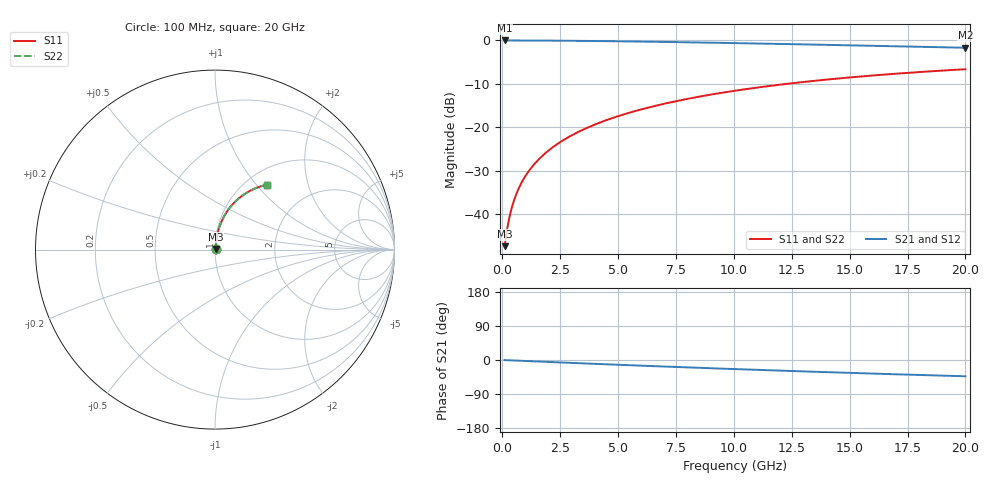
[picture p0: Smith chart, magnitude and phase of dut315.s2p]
! Touchstone file exported from HFSS 2024.1.0
!  File:  C:/UserFiles/LocalFiles/RDL_TSV_Batchsim/temp_RDL_top_315_1779606714.aedt
!  Generated:  03:14:21 PM May 24, 2026
!  Design:  RDL_top
!  Project:  temp_RDL_top_315_1779606714
!  Setup:  Setup1
!  Solution:  Sweep
! Variables:
!  dtsv = 10.80580581um
!  hbump = 3um
!  htsv = 50.6um
!  ldown = 100um
!  lrdl = 568.48um
!  p = 40
!  p1 = 52.85um
!  rhole = 1um
!  t = 450um
!  tdown = 3.915915916um
!  trdl = 4.48um
!  wdown = 15.38538539um
!  wrdl = 14.3um
# GHz S MA R 50.000000
! Terminal data exported
! Port[1] = Box2_T1
! Port[2] = Box2_T2
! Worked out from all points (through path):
!   200 points, 100 MHz to 20 GHz, reference 50 ohm
!   highest |S21| = -0.03 dB at 100 MHz (marker M1); lowest = -1.7 dB at 20 GHz (marker M2)
!   group delay of S21, straight-line fit = 5.95 ps
!   lowest |S11| = -47.4 dB at 100 MHz (marker M3), VSWR 1.01, Z = 50.3 + j0.282 ohm
!   |S11| at or under -10 dB: start of sweep to 12.32 GHz
!   |S22| runs from -47.4 to -6.6 dB; largest |S21 - S12| = 3.4e-15
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0.1  0.004274 41.0  0.9968 -0.3  0.9968 -0.3  0.004274 41.0
! Gamma 0 0 0 0
! Port Impedance 50 0 50 0
0.2  0.006495 59.3  0.9967 -0.5  0.9967 -0.5  0.006495 59.3
0.3  0.009015 67.5  0.9965 -0.8  0.9965 -0.8  0.009015 67.5
0.4  0.01161 72.0  0.9964 -1.1  0.9964 -1.1  0.01161 72.0
0.5  0.01424 74.7  0.9962 -1.3  0.9962 -1.3  0.01424 74.7
0.6  0.01687 76.6  0.9961 -1.6  0.9961 -1.6  0.01686 76.6
0.8  0.02214 78.9  0.9957 -2.1  0.9957 -2.1  0.02214 78.9
1.1  0.03007 80.7  0.9951 -2.9  0.9951 -2.9  0.03007 80.7
1.5  0.0407 81.8  0.9941 -3.9  0.9941 -3.9  0.0407 81.8
1.8  0.0487 82.0  0.9932 -4.7  0.9932 -4.7  0.0487 82.0
2.1  0.0567 82.1  0.9921 -5.4  0.9921 -5.4  0.0567 82.1
2.7  0.07272 81.8  0.9896 -6.9  0.9896 -6.9  0.07273 81.8
3.5  0.09408 80.9  0.9853 -8.9  0.9853 -8.9  0.09409 80.9
4.2  0.1127 80.0  0.9809 -10.7  0.9809 -10.7  0.1127 80.0
5  0.134 78.7  0.9753 -12.6  0.9753 -12.6  0.134 78.7
5.9  0.1577 77.2  0.9682 -14.7  0.9682 -14.7  0.1577 77.2
6.8  0.1812 75.5  0.9605 -16.8  0.9605 -16.8  0.1812 75.6
8.4  0.2222 72.5  0.9458 -20.4  0.9458 -20.4  0.2222 72.5
10.1  0.2643 69.3  0.9289 -24.1  0.9289 -24.1  0.2643 69.3
13.4  0.3403 62.9  0.894 -30.9  0.894 -30.9  0.3403 62.9
16.7  0.4074 56.8  0.8577 -37.2  0.8577 -37.2  0.4074 56.8
20  0.4651 51.1  0.8215 -43.0  0.8215 -43.0  0.4651 51.1
